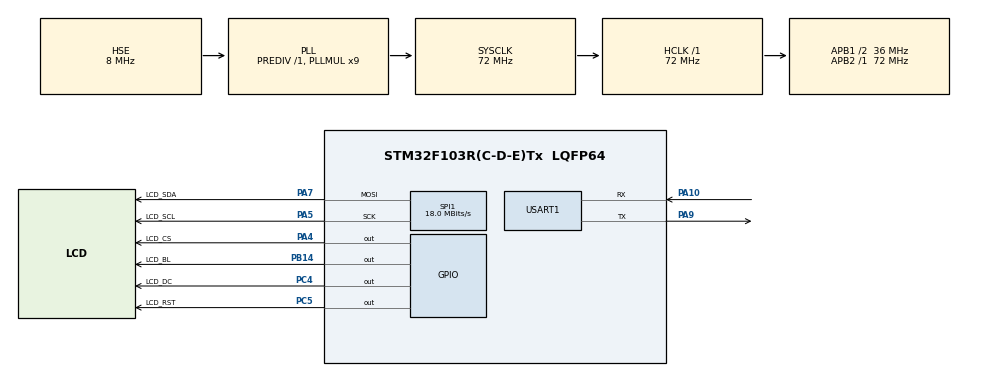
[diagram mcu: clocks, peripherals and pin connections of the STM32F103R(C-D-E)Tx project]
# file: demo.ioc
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Mcu.Family=STM32F1
Mcu.Name=STM32F103R(C-D-E)Tx
Mcu.Package=LQFP64
NVIC.PriorityGroup=NVIC_PRIORITYGROUP_4
NVIC.USART1_IRQn=true\:0\:0\:false\:false\:true\:true\:true\:true
PA10.Mode=Asynchronous
PA10.Signal=USART1_RX
PA13.Mode=Serial_Wire
PA13.Signal=SYS_JTMS-SWDIO
PA14.Mode=Serial_Wire
PA14.Signal=SYS_JTCK-SWCLK
PA4.GPIO_Label=LCD_CS
PA4.GPIO_Speed=GPIO_SPEED_FREQ_HIGH
PA4.Signal=GPIO_Output
PA5.GPIO_Label=LCD_SCL
PA5.Mode=TX_Only_Simplex_Unidirect_Master
PA5.Signal=SPI1_SCK
PA7.GPIO_Label=LCD_SDA
PA7.Mode=TX_Only_Simplex_Unidirect_Master
PA7.Signal=SPI1_MOSI
PA9.Mode=Asynchronous
PA9.Signal=USART1_TX
PB14.GPIO_Label=LCD_BL
PB14.GPIO_Speed=GPIO_SPEED_FREQ_HIGH
PB14.Signal=GPIO_Output
PC4.GPIO_Label=LCD_DC
PC4.GPIO_Speed=GPIO_SPEED_FREQ_HIGH
PC4.Signal=GPIO_Output
PC5.GPIO_Label=LCD_RST
PC5.GPIO_Speed=GPIO_SPEED_FREQ_HIGH
PC5.Signal=GPIO_Output
PD0-OSC_IN.Mode=HSE-External-Oscillator
PD0-OSC_IN.Signal=RCC_OSC_IN
PD1-OSC_OUT.Mode=HSE-External-Oscillator
PD1-OSC_OUT.Signal=RCC_OSC_OUT
ProjectManager.HeapSize=0x200
ProjectManager.StackSize=0x400
ProjectManager.TargetToolchain=MDK-ARM V5
RCC.AHBFreq_Value=72000000
RCC.APB1CLKDivider=RCC_HCLK_DIV2
RCC.APB1Freq_Value=36000000
RCC.APB1TimFreq_Value=72000000
RCC.APB2Freq_Value=72000000
RCC.APB2TimFreq_Value=72000000
RCC.HCLKFreq_Value=72000000
RCC.PLLMUL=RCC_PLL_MUL9
RCC.PLLSourceVirtual=RCC_PLLSOURCE_HSE
RCC.SYSCLKFreq_VALUE=72000000
RCC.SYSCLKSource=RCC_SYSCLKSOURCE_PLLCLK
RCC.USBFreq_Value=72000000
SPI1.BaudRatePrescaler=SPI_BAUDRATEPRESCALER_4
SPI1.CLKPhase=SPI_PHASE_1EDGE
SPI1.CLKPolarity=SPI_POLARITY_LOW
SPI1.CalculateBaudRate=18.0 MBits/s
SPI1.Direction=SPI_DIRECTION_2LINES
SPI1.Mode=SPI_MODE_MASTER
SPI1.VirtualType=VM_MASTER
USART1.VirtualMode=VM_ASYNC
board=custom

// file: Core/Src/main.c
/* USER CODE BEGIN Header */
/**
 ******************************************************************************
 * @file           : main.c
 * @brief          : Main program body
 ******************************************************************************
 * @attention
 *
 * <h2><center>&copy; Copyright (c) 2022 STMicroelectronics.
 * All rights reserved.</center></h2>
 *
 * This software component is licensed by ST under BSD 3-Clause license,
 * the "License"; You may not use this file except in compliance with the
 * License. You may obtain a copy of the License at:
 *                        opensource.org/licenses/BSD-3-Clause
 *
 ******************************************************************************
 */
/* USER CODE END Header */
#include "main.h"
#include "spi.h"
#include "usart.h"
#include "gpio.h"

/* USER CODE BEGIN Includes */
#include <stdlib.h>
#include "ST7735/images.h"
#include "ST7735/st7735.h"
/* USER CODE END Includes */

void SystemClock_Config(void);

int main(void)
{

  /* MCU Configuration--------------------------------------------------------*/

  /* Reset of all peripherals, Initializes the Flash interface and the Systick. */
  HAL_Init();

  /* Configure the system clock */
  SystemClock_Config();

  /* Initialize all configured peripherals */
  MX_GPIO_Init();
  MX_USART1_UART_Init();
  MX_SPI1_Init();

  /* Infinite loop */
  /* USER CODE BEGIN WHILE */
    srand(8888);  // 置随机数种子

    st7735_init();
    st7735_backlight_on();  // 开启背光（可配置PWM进行背光调节）

    uint8_t  bInvert   = 0;
    uint16_t colors[6] = {ST7735_CYAN, ST7735_RED, ST7735_BLUE, ST7735_GREEN, ST7735_YELLOW, ST7735_BLACK};

    while (1) {
        st7735_clear(ST7735_BLACK);  // 清屏
        HAL_Delay(1000);
        st7735_draw_string(0, 0, "hello, world", Font_7x10, ST7735_RED, ST7735_WHITE);  // 显示字符
        HAL_Delay(1000);
        int n = 50;
        while (--n) {
            st7735_fill_rect(
                rand() % 128,
                rand() % 64,
                rand() % 40,
                rand() % 40,
                colors[rand() % 6]);
            HAL_Delay(100);
        }
        HAL_Delay(1000);
        st7735_invert(bInvert = (bInvert?0:1));  // 反色
        HAL_Delay(1000);
        st7735_draw_image(0, 40, 128, 16, image_16x128);  // 绘图
        HAL_Delay(1000);

    /* USER CODE END WHILE */

    }
}

void SystemClock_Config(void)
{
  RCC_OscInitTypeDef RCC_OscInitStruct = {0};
  RCC_ClkInitTypeDef RCC_ClkInitStruct = {0};

  /** Initializes the RCC Oscillators according to the specified parameters
  * in the RCC_OscInitTypeDef structure.
  */
  RCC_OscInitStruct.OscillatorType = RCC_OSCILLATORTYPE_HSE;
  RCC_OscInitStruct.HSEState = RCC_HSE_ON;
  RCC_OscInitStruct.HSEPredivValue = RCC_HSE_PREDIV_DIV1;
  RCC_OscInitStruct.HSIState = RCC_HSI_ON;
  RCC_OscInitStruct.PLL.PLLState = RCC_PLL_ON;
  RCC_OscInitStruct.PLL.PLLSource = RCC_PLLSOURCE_HSE;
  RCC_OscInitStruct.PLL.PLLMUL = RCC_PLL_MUL9;
  if (HAL_RCC_OscConfig(&RCC_OscInitStruct) != HAL_OK)
  {
    Error_Handler();
  }

  /** Initializes the CPU, AHB and APB buses clocks
  */
  RCC_ClkInitStruct.ClockType = RCC_CLOCKTYPE_HCLK|RCC_CLOCKTYPE_SYSCLK
                              |RCC_CLOCKTYPE_PCLK1|RCC_CLOCKTYPE_PCLK2;
  RCC_ClkInitStruct.SYSCLKSource = RCC_SYSCLKSOURCE_PLLCLK;
  RCC_ClkInitStruct.AHBCLKDivider = RCC_SYSCLK_DIV1;
  RCC_ClkInitStruct.APB1CLKDivider = RCC_HCLK_DIV2;
  RCC_ClkInitStruct.APB2CLKDivider = RCC_HCLK_DIV1;

  if (HAL_RCC_ClockConfig(&RCC_ClkInitStruct, FLASH_LATENCY_2) != HAL_OK)
  {
    Error_Handler();
  }
}

void Error_Handler(void)
{
}
